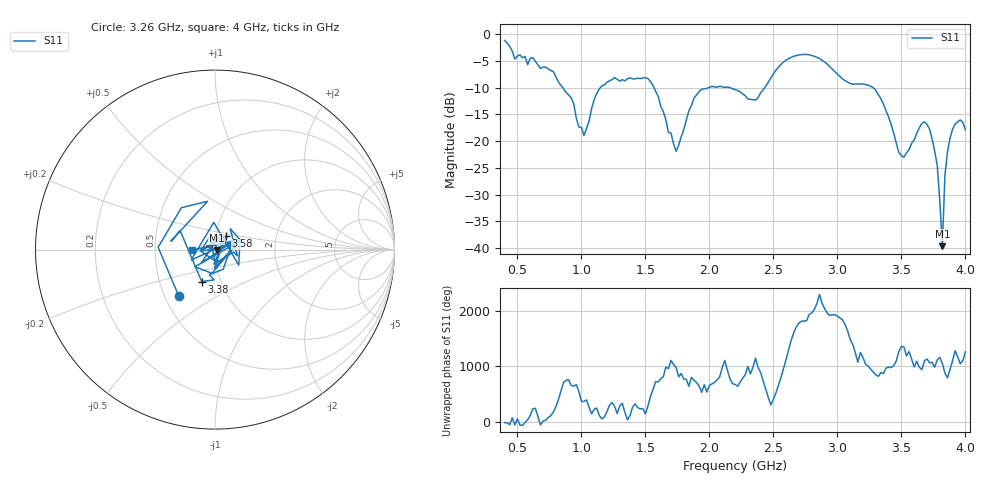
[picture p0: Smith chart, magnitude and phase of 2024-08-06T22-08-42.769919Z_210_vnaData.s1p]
!Created with skrf (http://scikit-rf.org).
# Hz S RI R 50.0
!freq ReS11 ImS11
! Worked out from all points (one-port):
!   181 points, 400 MHz to 4 GHz, reference 50 ohm
!   lowest |S11| = -39.7 dB at 3.82 GHz (marker M1), VSWR 1.02, Z = 50.9 - j0.504 ohm
!   |S11| at or under -10 dB: 855.3 MHz to 1.147 GHz (291.9 MHz wide, 29.2 % of centre); 1.568 GHz to 1.99 GHz (422.4 MHz wide, 23.7 % of centre); 3.281 GHz to end of sweep (the widest 3 of 4)
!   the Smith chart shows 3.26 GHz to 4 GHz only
!   S11 on the Smith chart (normalised r, x): 3.26 GHz: 0.59, -0.34; 3.38 GHz: 0.81, -0.30; 3.58 GHz: 1.11, +0.17; 4 GHz: 0.77, -0.01
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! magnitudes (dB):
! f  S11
! 400 MHz  -1.1
! 480 MHz  -4.6
! 620 MHz  -4.4
! 860 MHz  -10.1
! 1.02 GHz  -19.0
! 1.14 GHz  -10.2
! 1.3 GHz  -8.8
! 1.52 GHz  -8.3
! 1.74 GHz  -21.9
! 1.76 GHz  -20.7
! 1.92 GHz  -10.7
! 2.2 GHz  -10.3
! 2.36 GHz  -12.3
! 2.66 GHz  -4.1
! 3.1 GHz  -9.2
! 3.26 GHz  -9.7
! 3.38 GHz  -14.3
! 3.48 GHz  -22.1
! 3.56 GHz  -21.6
! 3.58 GHz  -20.4
! 3.66 GHz  -16.7
! 3.72 GHz  -17.7
! 3.78 GHz  -24.5
! 3.82 GHz  -39.7
! 3.84 GHz  -26.4
! 3.88 GHz  -19.4
! 3.96 GHz  -16.0
! 4 GHz  -17.9
